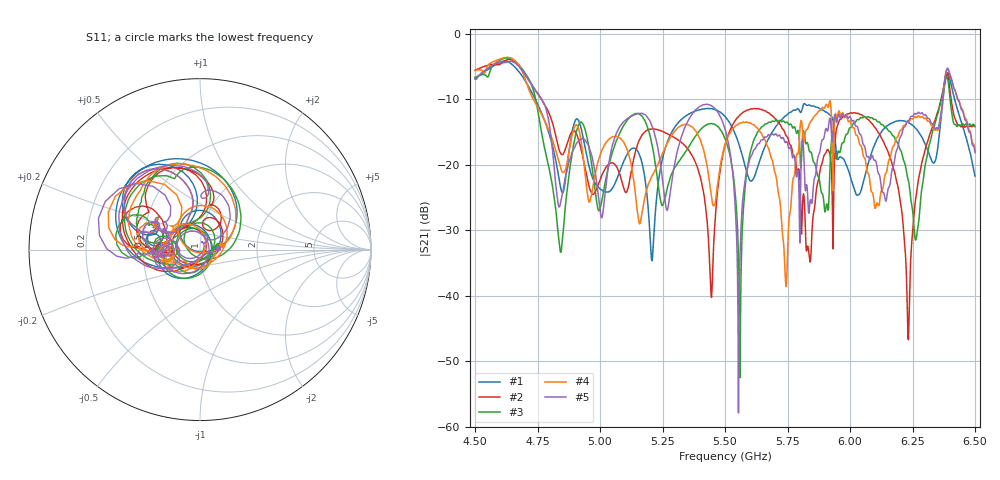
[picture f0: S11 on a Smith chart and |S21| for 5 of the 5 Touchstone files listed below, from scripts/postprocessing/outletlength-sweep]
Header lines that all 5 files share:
! TOUCHSTONE file generated by CST MICROWAVE STUDIO
! Project name: dual_circularly_polarized_waveguide_antenna.cst
! Header version: 2018
! Port assignment regex: !\s*Touchstone port\s*([0-9]+)\s*=\s*(CST MWS port|CST DS port)\s*([0-9]+|Zmin|Zmax)\s*\(\"(.*)\"\)(\s*mode\s*([0-9]+))?.*
! Touchstone port assignment:
! Touchstone port 1 = CST MWS port 1 ("Input1")
! Touchstone port 2 = CST MWS port 2 ("Input2")
# GHz S MA R 50
Fixed: airCoaxOuterDiameter = 3, chamferAngle = 45, chamferWidth = 24, connectorLength = 10, drillingHoleDiameter = 4.1, feedLength = 60, flareDiameter = 130, flareLength = 70, gratingDistance = 0, gratingGap = 1.90274, polarizerLength = 134, probe1Diameter = 1.3, probe1Distance = 14.068, probe1Length = 12.1932, probe2Diameter = 1.3, probe2Distance = 0, probe2Length = 11.967, smaInnerDiameter = 1.3, smaOuterDiameter = 4.1, transitionCoefficient = 1.33, waveguideFeedLength = 30, waveguideSide = 50, waveguideThickness = 3, wireCount = 25, wireDiameter = 1.17699
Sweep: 4.5 GHz to 6.5 GHz
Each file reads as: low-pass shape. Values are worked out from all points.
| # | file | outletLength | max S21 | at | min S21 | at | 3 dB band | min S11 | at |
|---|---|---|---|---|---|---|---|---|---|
| 1 | outletlength_sweep_1.s2p | 30 | -4.15 dB | 4.618 GHz | -34.6 dB | 5.208 GHz | 4.5 GHz-4.7 GHz | -36.3 dB | 4.89 GHz |
| 2 | outletlength_sweep_2.s2p | 45 | -3.89 dB | 4.634 GHz | -46.7 dB | 6.234 GHz | 4.5 GHz-4.712 GHz | -29.5 dB | 5.258 GHz |
| 3 | outletlength_sweep_3.s2p | 75 | -3.66 dB | 4.632 GHz | -52.5 dB | 5.56 GHz | 4.5 GHz-4.712 GHz | -26.4 dB | 4.912 GHz |
| 4 | outletlength_sweep_4.s2p | 90 | -3.55 dB | 4.63 GHz | -38.6 dB | 5.744 GHz | 4.5 GHz-4.696 GHz | -33.9 dB | 4.892 GHz |
| 5 | outletlength_sweep_6.s2p | 120 | -4.17 dB | 4.644 GHz | -57.9 dB | 5.554 GHz | 4.5 GHz-4.716 GHz | -35.2 dB | 5.102 GHz |
